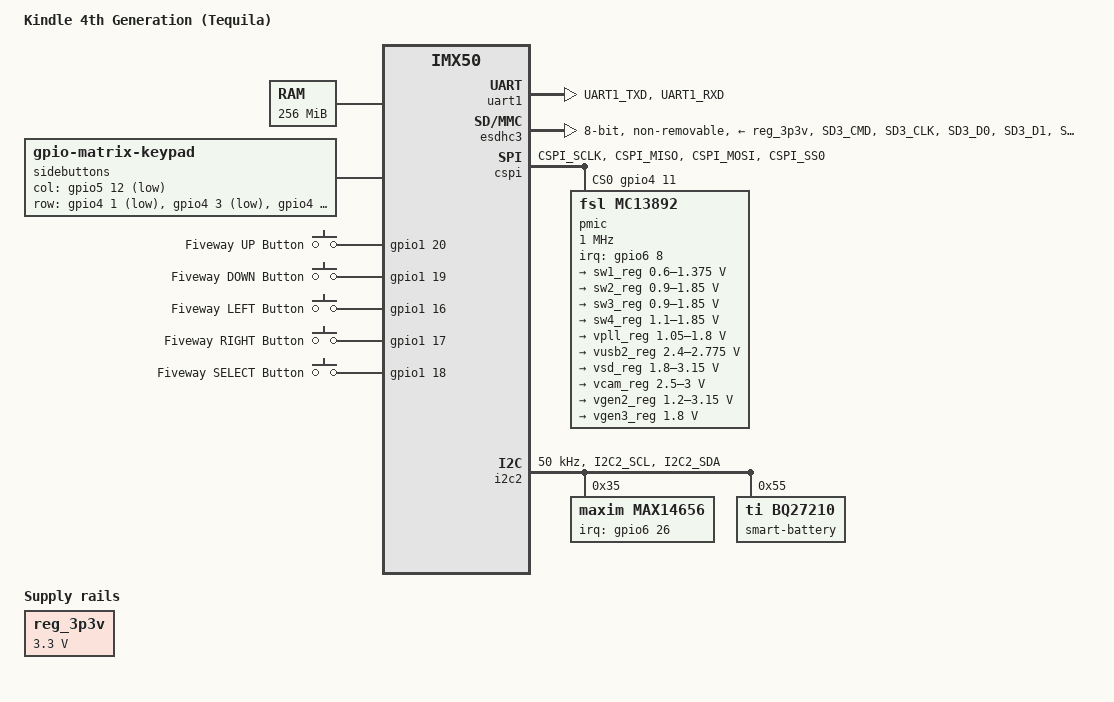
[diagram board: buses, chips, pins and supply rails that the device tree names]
/*
 * Copyright 2017 Alexander Kurz <akurz@blala.de>
 *
 * The code contained herein is licensed under the GNU General Public
 * License. You may obtain a copy of the GNU General Public License
 * Version 2 or later at the following locations:
 *
 * http://www.opensource.org/licenses/gpl-license.html
 * http://www.gnu.org/copyleft/gpl.html
 */

/dts-v1/;

#include "imx50.dtsi"
#include <dt-bindings/interrupt-controller/irq.h>
#include <dt-bindings/gpio/gpio.h>
#include <dt-bindings/input/input.h>

/ {
	model = "Kindle 4th Generation (Tequila)";
	compatible = "fsl,imx50";

	chosen {
		stdout-path = &uart1;
	};

	memory@70000000 {
		device_type = "memory";
		reg = <0x70000000 0x10000000>;
	};

	/* this is a dummy fixed-voltage "regulator", mainly to satisfy
	* the esdhc implementation requiring vmmc-supply and vqmmc-supply
	*/
	reg_3p3v: regulator-3p3v {
		compatible = "regulator-fixed";
		regulator-name = "3P3V";
		regulator-min-microvolt = <3300000>;
		regulator-max-microvolt = <3300000>;
		regulator-always-on;
	};

	sidebuttons: keyboard {
		compatible = "gpio-matrix-keypad";
		pinctrl-names = "default";
		pinctrl-0 = <&pinctrl_sidebuttons>;

		col-scan-delay-us = <10>;
		debounce-delay-ms = <10>;

		linux,no-autorepeat;

		col-gpios = <&gpio5 12 GPIO_ACTIVE_LOW>;

		row-gpios = <
			&gpio4 1 GPIO_ACTIVE_LOW
			&gpio4 3 GPIO_ACTIVE_LOW
			&gpio4 5 GPIO_ACTIVE_LOW
			&gpio4 7 GPIO_ACTIVE_LOW
			&gpio4 0 GPIO_ACTIVE_LOW
			&gpio4 2 GPIO_ACTIVE_LOW
			&gpio4 4 GPIO_ACTIVE_LOW
			&gpio4 6 GPIO_ACTIVE_LOW
		>;
 
		linux,keymap = <
			MATRIX_KEY(0, 0, KEY_LEFTCTRL)
			MATRIX_KEY(1, 0, KEY_MENU)
			MATRIX_KEY(2, 0, KEY_PAGEDOWN)
			MATRIX_KEY(3, 0, KEY_F21)
			MATRIX_KEY(4, 0, KEY_F23)
			MATRIX_KEY(5, 0, KEY_PAGEUP)
			MATRIX_KEY(6, 0, KEY_HOME)
			MATRIX_KEY(7, 0, KEY_BACK) 
		>;
	};


	fiveway_directional: gpio-keys0 {
		compatible = "gpio-keys";
		pinctrl-names = "default";
		pinctrl-0 = <&pinctrl_fiveway_directional>;
		autorepeat;

		up {
			label = "Fiveway UP Button";
			gpios = <&gpio1 20 GPIO_ACTIVE_HIGH>;
			linux,code = <KEY_UP>;
		};

		down {
			label = "Fiveway DOWN Button";
			gpios = <&gpio1 19 GPIO_ACTIVE_HIGH>;
			linux,code = <KEY_DOWN>;
		};

		left {
			label = "Fiveway LEFT Button";
			gpios = <&gpio1 16 GPIO_ACTIVE_HIGH>;
			linux,code = <KEY_LEFT>;
		};

		right {
			label = "Fiveway RIGHT Button";
			gpios = <&gpio1 17 GPIO_ACTIVE_HIGH>;
			linux,code = <KEY_RIGHT>;
		};
	};

	fiveway_select: gpio-keys1 {
		compatible = "gpio-keys";
		pinctrl-names = "default";
		pinctrl-0 = <&pinctrl_fiveway_select>;

		select {
			label = "Fiveway SELECT Button";
			gpios = <&gpio1 18 GPIO_ACTIVE_HIGH>;
			linux,code = <KEY_ENTER>;
		};
	};
};

&iomuxc {
	imx50-kindle { 
		/*
			Values correlated from Linux 2.6.31 source 
			in mx50_yoshi.c.
		*/

		pinctrl_sidebuttons: gpiokeysgrp0 {
			fsl,pins = < 
				MX50_PAD_KEY_COL0__GPIO4_0 	0xc4 // Keyboard
				MX50_PAD_KEY_COL1__GPIO4_2 	0xc4 // Menu 
				MX50_PAD_KEY_COL2__GPIO4_4 	0xc4 // Right Previous
				MX50_PAD_KEY_COL3__GPIO4_6 	0xc4 // Right Next
				MX50_PAD_KEY_ROW0__GPIO4_1 	0xc4 // Left Previous
				MX50_PAD_KEY_ROW1__GPIO4_3 	0xc4 // Left Next
				MX50_PAD_KEY_ROW2__GPIO4_5 	0xc4 // Home
				MX50_PAD_KEY_ROW3__GPIO4_7 	0xc4 // Back

				MX50_PAD_SD2_D4__GPIO5_12	0x00			
			>;
		}; 

		pinctrl_fiveway_directional: gpiokeysgrp1 {
			fsl,pins = <
				MX50_PAD_EIM_EB1__GPIO1_20  0x00 // Up
				MX50_PAD_EIM_EB0__GPIO1_19  0x00 // Down
				MX50_PAD_EIM_CS2__GPIO1_16  0x00 // Left
				MX50_PAD_EIM_CS1__GPIO1_17  0x00 // Right
			>;
		};

		pinctrl_fiveway_select: gpiokeysgrp2 {
			fsl,pins = <
				MX50_PAD_EIM_CS0__GPIO1_18  0x00 // Select
			>;
		};
 
		pinctrl_uart1: uart1grp {
			fsl,pins = <
				MX50_PAD_UART1_TXD__UART1_TXD_MUX	0xe4
				MX50_PAD_UART1_RXD__UART1_RXD_MUX	0xe4
			>;
		};

		pinctrl_cspi: cspigrp {
			fsl,pins = <
				MX50_PAD_CSPI_SCLK__CSPI_SCLK		0xc4
				MX50_PAD_CSPI_MISO__CSPI_MISO		0xc4
				MX50_PAD_CSPI_MOSI__CSPI_MOSI		0xc4
				MX50_PAD_CSPI_SS0__GPIO4_11			0xe4
			>;
		};

		pinctrl_pmic: pmicgrp {
			fsl,pins = <
				MX50_PAD_UART1_CTS__GPIO6_8		0x84
				MX50_PAD_EPDC_PWRCTRL0__GPIO3_29	0x84
			>;
		};

		pinctrl_esdhc3: esdhc3grp {
			fsl,pins = <
				MX50_PAD_SD3_CMD__ESDHC3_CMD		0xd4
				MX50_PAD_SD3_CLK__ESDHC3_CLK		0x00
				MX50_PAD_SD3_D0__ESDHC3_DAT0		0xd4
				MX50_PAD_SD3_D1__ESDHC3_DAT1		0xd4
				MX50_PAD_SD3_D2__ESDHC3_DAT2		0xd4
				MX50_PAD_SD3_D3__ESDHC3_DAT3		0xd4
				MX50_PAD_SD3_D4__ESDHC3_DAT4		0xd4
				MX50_PAD_SD3_D5__ESDHC3_DAT5		0xd4
				MX50_PAD_SD3_D6__ESDHC3_DAT6		0xd4
				MX50_PAD_SD3_D7__ESDHC3_DAT7		0xd4
			>;
		};
 
		pinctrl_i2c1: i2c1grp {
			fsl,pins = <
				MX50_PAD_I2C1_SCL__I2C1_SCL	0x4000002c
				MX50_PAD_I2C1_SDA__I2C1_SDA	0x4000002c
			>;
		};

		pinctrl_i2c2: i2c2grp {
			fsl,pins = <
				MX50_PAD_I2C2_SCL__I2C2_SCL	0x4000002c
				MX50_PAD_I2C2_SDA__I2C2_SDA	0x4000002c
			>;
		};

		pinctrl_i2c3: i2c3grp {
			fsl,pins = <
				MX50_PAD_I2C3_SCL__I2C3_SCL	0x4000002c
				MX50_PAD_I2C3_SDA__I2C3_SDA	0x4000002c
			>;
		};

		pinctrl_charger_detect: chargerdetectgrp {
			fsl,pins = <
				MX50_PAD_OWIRE__GPIO6_26		0xe4
			>;
		};
	};
};

&uart1 {
	pinctrl-names = "default";
	pinctrl-0 = <&pinctrl_uart1>;
	status = "okay";
};

&esdhc3 {
	pinctrl-names = "default";
	pinctrl-0 = <&pinctrl_esdhc3>;
	vmmc-supply = <&reg_3p3v>;
	vqmmc-supply = <&reg_3p3v>;
	bus-width = <8>;
	non-removable;
	// max-frequency = <52000000>;
	disable-wp;
	status = "okay";
};

&cspi {
	pinctrl-names = "default";
	pinctrl-0 = <&pinctrl_cspi>;
	fsl,spi-num-chipselects = <1>;
	cs-gpios = <&gpio4 11 0>;
	status = "okay";

	pmic: mc13892@0 {
		compatible = "fsl,mc13892";
		pinctrl-names = "default";
		pinctrl-0 = <&pinctrl_pmic>;
		spi-max-frequency = <1000000>;
		spi-cs-high;
		reg = <0>;
		interrupt-parent = <&gpio6>;
		interrupts = <8 IRQ_TYPE_LEVEL_HIGH>;
		fsl,mc13xxx-uses-rtc;
		fsl,mc13xxx-uses-button;

		buttons {
			b1on_flags = <0>;
			b1on_key = <KEY_A>;

			b2on_flags = <0>;
			b2on_key = <KEY_A>;

			b3on_flags = <0>;
			b3on_key = <KEY_A>;		
		};

		regulators {
			sw1_reg: sw1 {
				regulator-min-microvolt = <600000>;
				regulator-max-microvolt = <1375000>;
				regulator-boot-on;
				regulator-always-on;
			};

			sw2_reg: sw2 {
				regulator-min-microvolt = <900000>;
				regulator-max-microvolt = <1850000>;
				regulator-boot-on;
				regulator-always-on;
			};

			sw3_reg: sw3 {
				regulator-min-microvolt = <900000>;
				regulator-max-microvolt = <1850000>;
				regulator-boot-on;
				regulator-always-on;
			};

			sw4_reg: sw4 {
				regulator-min-microvolt = <1100000>;
				regulator-max-microvolt = <1850000>;
				regulator-boot-on;
				regulator-always-on;
			};

			vpll_reg: vpll {
				regulator-min-microvolt = <1050000>;
				regulator-max-microvolt = <1800000>;
				regulator-boot-on;
				regulator-always-on;
			};

			vusb2_reg: vusb2 {
				regulator-min-microvolt = <2400000>;
				regulator-max-microvolt = <2775000>;
				regulator-boot-on;
				regulator-always-on;
			};

			vsd_reg: vsd {
				regulator-min-microvolt = <1800000>;
				regulator-max-microvolt = <3150000>;
			};

			vcam_reg: vcam {
				regulator-min-microvolt = <2500000>;
				regulator-max-microvolt = <3000000>;
			};

			vgen2_reg: vgen2 {
				regulator-min-microvolt = <1200000>;
				regulator-max-microvolt = <3150000>;
				regulator-always-on;
			};

			vgen3_reg: vgen3 {
				regulator-min-microvolt = <1800000>;
				regulator-max-microvolt = <1800000>;
			};
		};

		leds {
			#address-cells = <1>;
			#size-cells = <0>;
			led-control = <0 0xff8 0 0>;
			ledg@2 {
				reg = <2>;
				label = "pmic_ledsg";
				linux,default-trigger = "heartbeat";
			};
		};
	};
};

&i2c2 {
	clock-frequency = <50000>;
	pinctrl-names = "default";
	pinctrl-0 = <&pinctrl_i2c2>;
	status = "okay";

	max14656@35 {
		compatible = "maxim,max14656";
		reg = <0x35>;
		pinctrl-names = "default";
		pinctrl-0 = <&pinctrl_charger_detect>;
		interrupt-parent = <&gpio6>;
		interrupts = <26 IRQ_TYPE_LEVEL_HIGH>;
	};

	smart-battery@55 {
		compatible = "ti,bq27210";
		reg = <0x55>;
		ti,i2c-retry-count = <2>;
		ti,poll-retry-count = <10>;
	};
};
